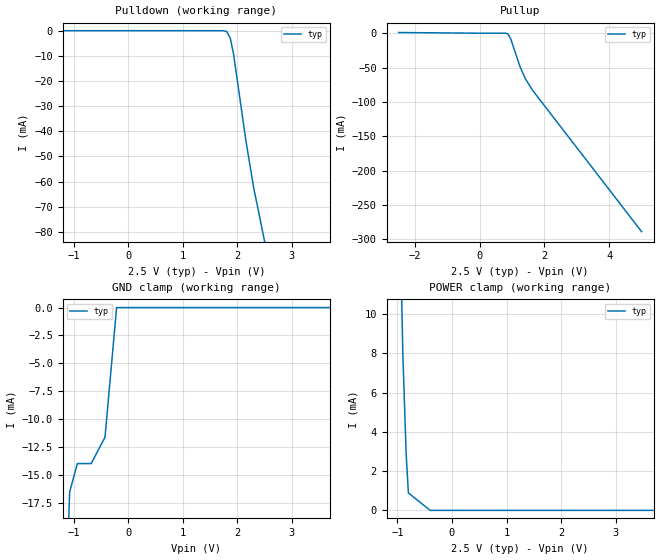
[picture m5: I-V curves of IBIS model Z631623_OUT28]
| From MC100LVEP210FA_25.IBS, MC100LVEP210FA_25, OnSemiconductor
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| (C) COPYRIGHT 1993-2000
| MENTOR GRAPHICS CORPORATION
| ICX STANDARD LIBRARY, ICX PROJECT MODELING,
| ICX CUSTOM MODELING, ICX VENDOR MODEL
| ALL RIGHTS RESERVED.
| THE FOLLOWING ARE TRADEMARKS OR SERVICE MARKS OF
| MENTOR GRAPHICS CORPORATION:ICX (R), ICX STANDARD
| LIBRARY(R), ICX PROJECT MODELING(R), ICX CUSTOM
| MODELING(R), qualityIBIS(TM), MODELVIEWER(TM),
| AND MODELEDITOR(TM)
| ALL COPIES OF SOFTWARE, INCLUDING BUT NOT LIMITED TO
| ANY MODIFICATIONS, ENHANCEMENTS OR DERIVATIVE WORKS,
| MUST CONTAIN ALL MENTOR GRAPHICS CORPORATION'S
| NOTICES AND LEGENDS, INCLUDING THOSE EMBEDDED IN
| SOFTWARE AND THOSE AFFIXED TO SOFTWARE MEDIUM
| AND CONTAINER, AS RECEIVED FROM MENTOR GRAPHICS
| CORPORATION.
| Model Application Version 1.89 2/18/99.
[Model] Z631623_OUT28
Model_type Output_ECL
Vref=500.0mV
Rref=50.00ohms
Cref=0.000F
Vmeas=1.100V
C_comp 1.000pF NA NA
| variable typ   min   max
[Voltage Range] 2.500V NA NA
[POWER Clamp Reference] 2.500V NA NA
[Pullup Reference] 2.500V NA NA
[Pulldown Reference] 2.500V NA NA
[GND Clamp Reference] 0.000V NA NA
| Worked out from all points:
|   GND clamp passes 1 mA (typ) near -0.23 V on its own axis
|   POWER clamp passes 1 mA (typ) near -0.80 V on its own axis
[GND Clamp]
-2.5V     -223.7mA   NA         NA
-1.074V   -16.51mA   NA         NA
-932.3mV  -13.97mA   NA         NA
-679.1mV  -13.97mA   NA         NA
-426mV    -11.62mA   NA         NA
-213mV    0A         NA         NA
5V        0A         NA         NA
[Pulldown]
-2.5V     0A         NA         NA
1.73V     0A         NA         NA
1.79V     -200uA     NA         NA
1.811V    -500uA     NA         NA
1.872V    -3mA       NA         NA
1.933V    -9.5mA     NA         NA
2.155V    -43.3mA    NA         NA
2.297V    -62mA      NA         NA
5V        -350.7mA   NA         NA
[Pullup]
-2.5V     977.9uA    NA         NA
11.5mV    0A         NA         NA
782mV     0A         NA         NA
843mV     -400uA     NA         NA
884mV     -1.6mA     NA         NA
965mV     -9mA       NA         NA
1.248V    -48.8mA    NA         NA
1.41V     -66.1mA    NA         NA
1.633V    -83mA      NA         NA
5V        -288.7mA   NA         NA
[POWER Clamp]
-2.5V     226.6mA    NA         NA
-901mV    7.945mA    NA         NA
-840mV    2.868mA    NA         NA
-799mV    884.4uA    NA         NA
-399.5mV  0A         NA         NA
5V        0A         NA         NA
[Ramp]
| variable typ min max
dV/dt_r 481.6m/136.7p NA NA
dV/dt_f 481.6m/149.9p NA NA
R_load = 50.00Ohms
